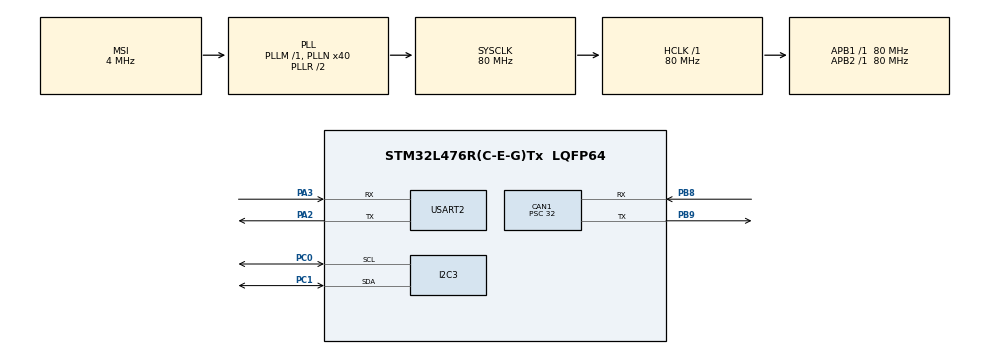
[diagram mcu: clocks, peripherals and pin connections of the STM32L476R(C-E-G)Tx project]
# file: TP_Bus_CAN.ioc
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CAN1.BS1=CAN_BS1_3TQ
CAN1.CalculateBaudRate=500000
CAN1.CalculateTimeBit=2000.00
CAN1.CalculateTimeQuantum=400.0
CAN1.Prescaler=32
I2C3.Timing=0x10909CEC
Mcu.Family=STM32L4
Mcu.Name=STM32L476R(C-E-G)Tx
Mcu.Package=LQFP64
NVIC.PriorityGroup=NVIC_PRIORITYGROUP_4
PA13\ (JTMS-SWDIO).Mode=Serial_Wire
PA13\ (JTMS-SWDIO).Signal=SYS_JTMS-SWDIO
PA14\ (JTCK-SWCLK).Mode=Serial_Wire
PA14\ (JTCK-SWCLK).Signal=SYS_JTCK-SWCLK
PA2.Mode=Asynchronous
PA2.Signal=USART2_TX
PA3.Mode=Asynchronous
PA3.Signal=USART2_RX
PB8.Mode=CAN_Activate
PB8.Signal=CAN1_RX
PB9.Mode=CAN_Activate
PB9.Signal=CAN1_TX
PC0.Mode=I2C
PC0.Signal=I2C3_SCL
PC1.Mode=I2C
PC1.Signal=I2C3_SDA
PH0-OSC_IN\ (PH0).Mode=HSE-External-Oscillator
PH0-OSC_IN\ (PH0).Signal=RCC_OSC_IN
PH1-OSC_OUT\ (PH1).Mode=HSE-External-Oscillator
PH1-OSC_OUT\ (PH1).Signal=RCC_OSC_OUT
ProjectManager.HeapSize=0x200
ProjectManager.StackSize=0x400
ProjectManager.TargetToolchain=STM32CubeIDE
RCC.ADCFreq_Value=16000000
RCC.AHBFreq_Value=80000000
RCC.APB1Freq_Value=80000000
RCC.APB1TimFreq_Value=80000000
RCC.APB2Freq_Value=80000000
RCC.APB2TimFreq_Value=80000000
RCC.CortexFreq_Value=80000000
RCC.HCLKFreq_Value=80000000
RCC.HSE_VALUE=8000000
RCC.HSI_VALUE=16000000
RCC.LSE_VALUE=32768
RCC.MSI_VALUE=4000000
RCC.PLLN=40
RCC.SYSCLKFreq_VALUE=80000000
RCC.SYSCLKSource=RCC_SYSCLKSOURCE_PLLCLK
RCC.USBFreq_Value=16000000
RCC.VCOOutputFreq_Value=160000000
USART2.VirtualMode-Asynchronous=VM_ASYNC
board=custom

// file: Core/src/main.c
/* USER CODE BEGIN Header */
/**
  ******************************************************************************
  * @file           : main.c
  * @brief          : Main program body
  ******************************************************************************
  * @attention
  *
  * <h2><center>&copy; Copyright (c) 2021 STMicroelectronics.
  * All rights reserved.</center></h2>
  *
  * This software component is licensed by ST under BSD 3-Clause license,
  * the "License"; You may not use this file except in compliance with the
  * License. You may obtain a copy of the License at:
  *                        opensource.org/licenses/BSD-3-Clause
  *
  ******************************************************************************
  */
/* USER CODE END Header */
#include "main.h"
#include "can.h"
#include "i2c.h"
#include "usart.h"
#include "gpio.h"

/* USER CODE BEGIN Includes */
#include "stdio.h"

/* USER CODE END Includes */

void SystemClock_Config(void);

/* USER CODE BEGIN 0 */
uint8_t aData0[2] = {0, 0};
uint8_t aData90[2] = {0x54, 0x00};

uint32_t pTxMailbox;
CAN_TxHeaderTypeDef CAN_TxHeader;
/* USER CODE END 0 */

int main(void)
{

  /* MCU Configuration--------------------------------------------------------*/

  /* Reset of all peripherals, Initializes the Flash interface and the Systick. */
  HAL_Init();

  /* Configure the system clock */
  SystemClock_Config();

  /* Initialize all configured peripherals */
  MX_GPIO_Init();
  MX_CAN1_Init();
  MX_USART2_UART_Init();
  MX_I2C3_Init();
  /* USER CODE BEGIN 2 */

  // Activation du CAN :
  HAL_CAN_Start (&hcan1);
  // Envoi d'un message :
  //HAL_StatusTypeDef HAL_CAN_AddTxMessage (CAN_HandleTypeDef * hcan1, CAN_TxHeaderTypeDef * pHeader, uint8_t aData[0], uint32_t * pTxMailbox);
  //HAL_StatusTypeDef HAL_CAN_AddTxMessage (CAN_HandleTypeDef * hcan1, CAN_TxHeaderTypeDef * pHeader, uint8_t aData[1], uint32_t * pTxMailbox);

  /* USER CODE END 2 */

  /* Infinite loop */
  /* USER CODE BEGIN WHILE */
  while (1)
  {
	  CAN_TxHeader.StdId = 0x61;
	  CAN_TxHeader.RTR = CAN_RTR_DATA;
	  CAN_TxHeader.IDE = CAN_ID_STD;
	  CAN_TxHeader.DLC = 2;
	  CAN_TxHeader.TransmitGlobalTime = DISABLE;

	  HAL_CAN_AddTxMessage (&hcan1, &CAN_TxHeader, aData0, &pTxMailbox);
	  HAL_Delay(1000);
	  HAL_CAN_AddTxMessage (&hcan1, &CAN_TxHeader, aData90, &pTxMailbox);
	  HAL_Delay(1000);

	  //HAL_CAN_AddTxMessage (&hcan1, &CAN_TxHeader, &aData0[0], &pTxMailbox);
	  //HAL_CAN_AddTxMessage (&hcan1, &CAN_TxHeader, &aData0[1], &pTxMailbox);

    /* USER CODE END WHILE */

  }
}

void SystemClock_Config(void)
{
  RCC_OscInitTypeDef RCC_OscInitStruct = {0};
  RCC_ClkInitTypeDef RCC_ClkInitStruct = {0};

  /** Configure the main internal regulator output voltage
  */
  if (HAL_PWREx_ControlVoltageScaling(PWR_REGULATOR_VOLTAGE_SCALE1) != HAL_OK)
  {
    Error_Handler();
  }
  /** Initializes the RCC Oscillators according to the specified parameters
  * in the RCC_OscInitTypeDef structure.
  */
  RCC_OscInitStruct.OscillatorType = RCC_OSCILLATORTYPE_MSI;
  RCC_OscInitStruct.MSIState = RCC_MSI_ON;
  RCC_OscInitStruct.MSICalibrationValue = 0;
  RCC_OscInitStruct.MSIClockRange = RCC_MSIRANGE_6;
  RCC_OscInitStruct.PLL.PLLState = RCC_PLL_ON;
  RCC_OscInitStruct.PLL.PLLSource = RCC_PLLSOURCE_MSI;
  RCC_OscInitStruct.PLL.PLLM = 1;
  RCC_OscInitStruct.PLL.PLLN = 40;
  RCC_OscInitStruct.PLL.PLLP = RCC_PLLP_DIV7;
  RCC_OscInitStruct.PLL.PLLQ = RCC_PLLQ_DIV2;
  RCC_OscInitStruct.PLL.PLLR = RCC_PLLR_DIV2;
  if (HAL_RCC_OscConfig(&RCC_OscInitStruct) != HAL_OK)
  {
    Error_Handler();
  }
  /** Initializes the CPU, AHB and APB buses clocks
  */
  RCC_ClkInitStruct.ClockType = RCC_CLOCKTYPE_HCLK|RCC_CLOCKTYPE_SYSCLK
                              |RCC_CLOCKTYPE_PCLK1|RCC_CLOCKTYPE_PCLK2;
  RCC_ClkInitStruct.SYSCLKSource = RCC_SYSCLKSOURCE_PLLCLK;
  RCC_ClkInitStruct.AHBCLKDivider = RCC_SYSCLK_DIV1;
  RCC_ClkInitStruct.APB1CLKDivider = RCC_HCLK_DIV1;
  RCC_ClkInitStruct.APB2CLKDivider = RCC_HCLK_DIV1;

  if (HAL_RCC_ClockConfig(&RCC_ClkInitStruct, FLASH_LATENCY_4) != HAL_OK)
  {
    Error_Handler();
  }
}

void Error_Handler(void)
{
  __disable_irq();
  while (1)
  {
  }
}

/************************ (C) COPYRIGHT STMicroelectronics *****END OF FILE****/
